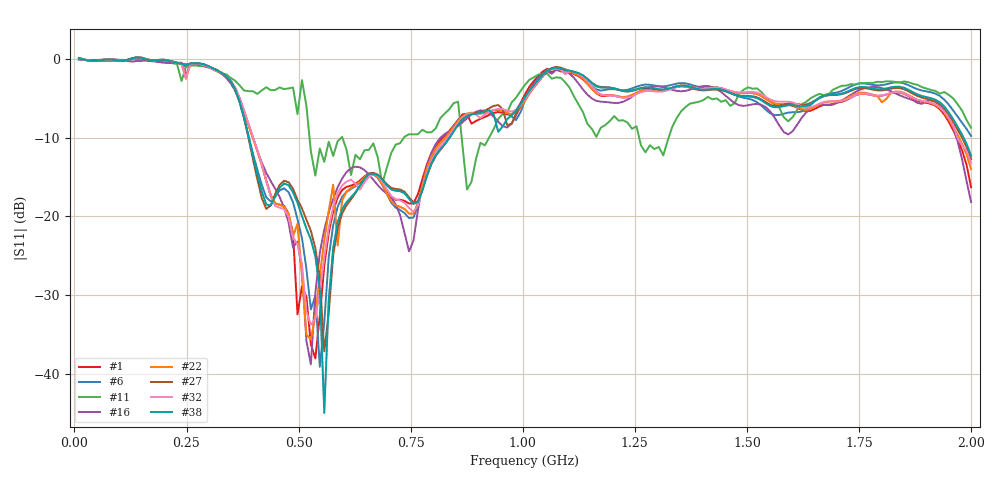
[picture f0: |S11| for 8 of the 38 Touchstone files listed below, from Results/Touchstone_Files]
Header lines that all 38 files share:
!Created with skrf (http://scikit-rf.org).
# Hz S RI R 50.0
!freq ReS11 ImS11
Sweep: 10 MHz to 2 GHz
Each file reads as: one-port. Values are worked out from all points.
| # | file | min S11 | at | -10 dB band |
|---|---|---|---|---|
| 1 | ANT1441H_P1.s1p | -38.0 dB | 537.4 MHz | 423.9 MHz wide |
| 2 | ANT1441H_P2.s1p | -34.9 dB | 567.2 MHz | 452.4 MHz wide |
| 3 | ANT1442H_P1.s1p | -31.6 dB | 517.5 MHz | 397.6 MHz wide |
| 4 | ANT1442H_P2.s1p | -46.1 dB | 557.2 MHz | 440.8 MHz wide |
| 5 | ANt1443H_P1.s1p | -39.7 dB | 517.5 MHz | 420.1 MHz wide |
| 6 | ANt1443H_P2.s1p | -39.1 dB | 547.3 MHz | 437.1 MHz wide |
| 7 | ANT1444H_P1.s1p | -49.2 dB | 527.4 MHz | 441.5 MHz wide |
| 8 | ANT1444H_P2.s1p | -41.6 dB | 557.2 MHz | 474.6 MHz wide |
| 9 | ANT1445H_P1.s1p | -45.4 dB | 517.5 MHz | 406.2 MHz wide |
| 10 | ANT1445H_P2.s1p | -35.6 dB | 557.2 MHz | 447.8 MHz wide |
| 11 | ANT1446H_P2.s1p | -16.6 dB | 875.6 MHz | 137.2 MHz wide |
| 12 | ANT1447H_P1.s1p | -30.1 dB | 517.5 MHz | 402.5 MHz wide |
| 13 | ANT1447H_P2.s1p | -38.2 dB | 557.2 MHz | 451.6 MHz wide |
| 14 | ANT1448H_P1.s1p | -32.5 dB | 517.5 MHz | 397.6 MHz wide |
| 15 | ANT1448H_P2.s1p | -35.7 dB | 567.2 MHz | 453.1 MHz wide |
| 16 | ANT1449H_P1.s1p | -38.8 dB | 527.4 MHz | 418.4 MHz wide |
| 17 | ANT1449H_P2.s1p | -47.2 dB | 557.2 MHz | 462.2 MHz wide |
| 18 | ANT1450H_P1.s1p | -33.9 dB | 517.5 MHz | 399.6 MHz wide |
| 19 | ANT1450H_P2.s1p | -36.4 dB | 557.2 MHz | 449 MHz wide |
| 20 | ANT1451H_P1.s1p | -42.5 dB | 517.5 MHz | 414.2 MHz wide |
| 21 | ANT1451H_P2.s1p | -42.8 dB | 557.2 MHz | 449.2 MHz wide |
| 22 | ANT1452H_P1.s1p | -35.6 dB | 527.4 MHz | 429.3 MHz wide |
| 23 | ANT1452H_P2.s1p | -42.2 dB | 557.2 MHz | 447.8 MHz wide |
| 24 | ANT1453H_P1.s1p | -37.1 dB | 527.4 MHz | 425.9 MHz wide |
| 25 | ANT1453H_P2.s1p | -50.8 dB | 557.2 MHz | 447.2 MHz wide |
| 26 | ANT1454H_P1.s1p | -40.2 dB | 527.4 MHz | 425.5 MHz wide |
| 27 | ANT1454H_P2.s1p | -37.1 dB | 557.2 MHz | 448.6 MHz wide |
| 28 | ANT1455H_P1.s1p | -39.2 dB | 517.5 MHz | 412.1 MHz wide |
| 29 | ANT1455H_P2.s1p | -46.8 dB | 557.2 MHz | 448.9 MHz wide |
| 30 | ANT1456H_P1.s1p | -40.4 dB | 527.4 MHz | 423.5 MHz wide |
| 31 | ANT1456H_P2.s1p | -32.3 dB | 567.2 MHz | 458.6 MHz wide |
| 32 | ANT1457H_P1.s1p | -33.8 dB | 527.4 MHz | 433.1 MHz wide |
| 33 | ANT1457H_P2.s1p | -36.5 dB | 567.2 MHz | 455.9 MHz wide |
| 34 | ANT1459H_P2.s1p | -39.2 dB | 547.3 MHz | 431.6 MHz wide |
| 35 | ANT1460H_P1.s1p | -33.1 dB | 537.4 MHz | 417.3 MHz wide |
| 36 | ANT1460H_P2.s1p | -43.2 dB | 537.4 MHz | 426.8 MHz wide |
| 37 | ANT1461H_P1.s1p | -49.9 dB | 517.5 MHz | 410 MHz wide |
| 38 | ANT1461H_P2.s1p | -45.0 dB | 557.2 MHz | 447.3 MHz wide |
